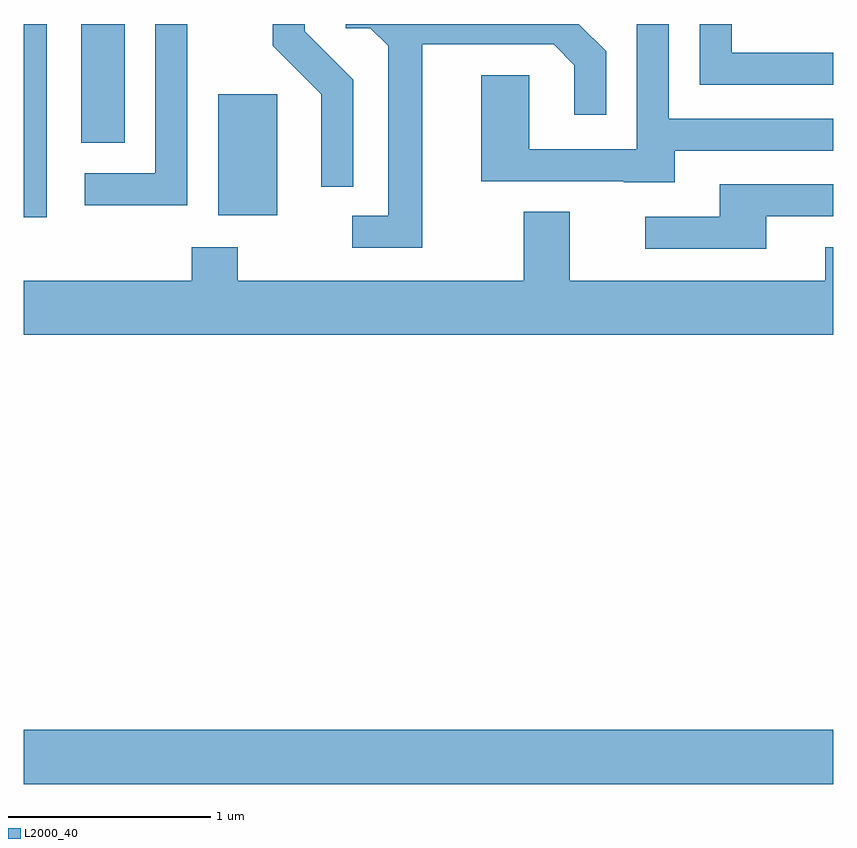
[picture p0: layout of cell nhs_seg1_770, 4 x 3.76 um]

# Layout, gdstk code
import gdstk
lib = gdstk.Library(unit=1e-6, precision=1e-09)
def R(c, l, rs):  # rectangles x0, y0, x1, y1
    for r in rs: c.add(gdstk.rectangle(r[:2], r[2:], *l))
def P(c, l, *ps):  # polygons
    for p in ps: c.add(gdstk.Polygon(p, *l))
L2000_40 = (2000, 40)

nhs_seg1_770 = lib.new_cell('nhs_seg1_770')
R(nhs_seg1_770, L2000_40, [(207.611,963.956,211.611,964.224), (207.611,966.756,207.724,967.712), (208.571,966.766,208.864,967.364), (207.896,967.126,208.109,967.712)])
P(nhs_seg1_770, L2000_40, [(208.419,967.712),(208.261,967.712),(208.261,966.974),(207.913,966.974),(207.913,966.816),(208.419,966.816)],
  [(209.239,967.437),(208.999,967.677),(208.999,967.712),(208.841,967.712),(208.841,967.604),(209.081,967.364),(209.081,966.908),(209.239,966.908)],
  [(211.611,967.569),(211.109,967.569),(211.109,967.712),(210.951,967.712),(210.951,967.411),(211.611,967.411)],
  [(210.829,967.086),(211.611,967.086),(211.611,967.244),(210.799,967.244),(210.799,967.712),(210.641,967.712),(210.641,967.094),(210.109,967.094),(210.109,967.459),(209.871,967.459),(209.871,966.936),(210.575,966.936),(210.575,966.931),(210.829,966.931)],
  [(209.579,967.611),(210.229,967.611),(210.331,967.509),(210.331,967.263),(210.489,967.263),(210.489,967.577),(210.354,967.712),(209.203,967.712),(209.203,967.691),(209.324,967.691),(209.411,967.604),(209.411,966.764),(209.233,966.764),(209.233,966.606),(209.579,966.606)],
  [(211.279,966.761),(211.611,966.761),(211.611,966.919),(211.051,966.919),(211.051,966.759),(210.683,966.759),(210.683,966.601),(211.279,966.601)],
  [(211.611,966.609),(211.571,966.609),(211.571,966.444),(210.309,966.444),(210.309,966.784),(210.081,966.784),(210.081,966.444),(208.669,966.444),(208.669,966.609),(208.441,966.609),(208.441,966.444),(207.611,966.444),(207.611,966.176),(211.611,966.176)])

lib.write_gds('nhs_seg1_770.gds')
